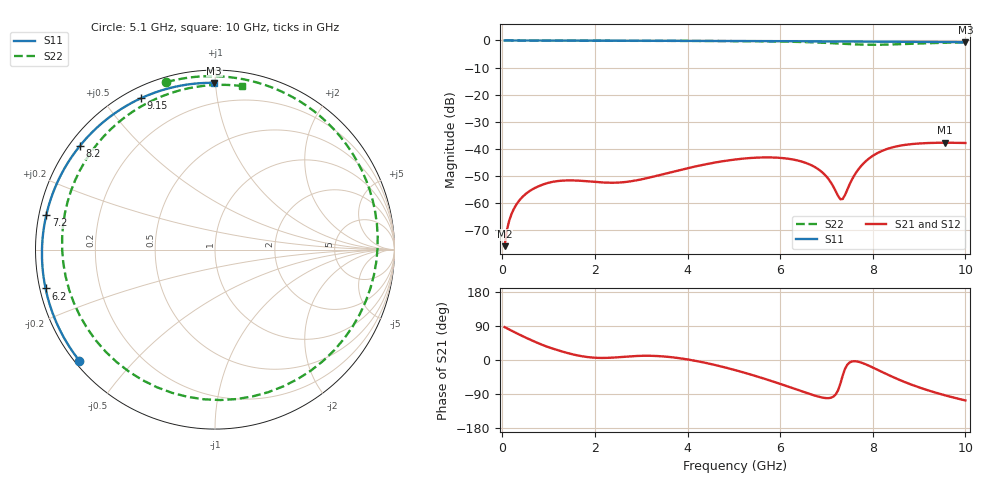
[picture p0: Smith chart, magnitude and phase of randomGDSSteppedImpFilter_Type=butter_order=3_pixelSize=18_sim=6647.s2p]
! freq	dB(S11)	phase(S11)	dB(S12)	phase(S12)
!  dB(S21)	phase(S21)	dB(S22)	phase(S22)
!S-par simulation data
#  GHz  S  DB  R 50
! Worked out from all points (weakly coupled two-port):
!   200 points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, 50 MHz to 10 GHz, reference 50 ohm
!   highest |S21| = -37.79 dB at 9.55 GHz (marker M1); lowest = -76.0 dB at 50 MHz (marker M2)
!   lowest |S11| = -0.6 dB at 10 GHz (marker M3), VSWR 27.19, Z = 3.65 + j49.6 ohm
!   |S11| at or under -10 dB: nowhere
!   |S22| runs from -1.6 to 0.0 dB; largest |S21 - S12| = 0
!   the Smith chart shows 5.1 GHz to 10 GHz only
!   S11 on the Smith chart (normalised r, x): 5.1 GHz: 0.01, -0.36; 6.2 GHz: 0.02, -0.11; 7.2 GHz: 0.02, +0.10; 8.2 GHz: 0.03, +0.34; 9.15 GHz: 0.04, +0.62; 10 GHz: 0.07, +0.99
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0.05  -0.00 -1.6  -76.00 86.8  -76.00 86.8  -0.00 -4.9
0.1  -0.00 -3.1  -70.00 83.6  -70.00 83.6  -0.01 -9.7
0.2  -0.01 -6.2  -64.08 77.3  -64.08 77.3  -0.03 -19.2
0.5  -0.02 -15.5  -56.79 59.4  -56.79 59.4  -0.06 -46.5
1.05  -0.04 -32.3  -52.35 31.6  -52.35 31.6  -0.10 -89.3
1.75  -0.07 -53.1  -51.90 9.3  -51.90 9.3  -0.11 -130.1
2.5  -0.09 -74.4  -52.51 7.2  -52.51 7.2  -0.12 -162.6
3.4  -0.13 -98.5  -49.71 10.1  -49.71 10.1  -0.15 165.3
5.05  -0.20 -139.5  -43.93 -27.4  -43.93 -27.4  -0.24 108.1
5.1  -0.20 -140.7  -43.83 -29.1  -43.83 -29.1  -0.25 106.2
5.7  -0.24 -155.1  -43.20 -51.0  -43.20 -51.0  -0.33 80.6
6.2  -0.28 -167.1  -43.76 -71.2  -43.76 -71.2  -0.46 54.5
6.7  -0.32 -179.2  -46.31 -92.0  -46.31 -92.0  -0.69 20.9
7.2  -0.36 168.4  -55.69 -90.8  -55.69 -90.8  -1.08 -24.1
7.35  -0.37 164.7  -58.57 -41.3  -58.57 -41.3  -1.22 -40.2
7.7  -0.41 155.7  -47.38 -5.0  -47.38 -5.0  -1.50 -81.8
8.2  -0.45 142.5  -40.80 -31.5  -40.80 -31.5  -1.57 -142.7
8.35  -0.47 138.5  -39.86 -40.2  -39.86 -40.2  -1.51 -159.3
8.7  -0.50 128.8  -38.57 -58.6  -38.57 -58.6  -1.31 166.4
9.15  -0.55 115.9  -37.92 -78.4  -37.92 -78.4  -1.04 131.0
9.55  -0.59 104.1  -37.79 -92.8  -37.79 -92.8  -0.85 105.3
10  -0.64 90.3  -37.88 -106.7  -37.88 -106.7  -0.69 80.7
